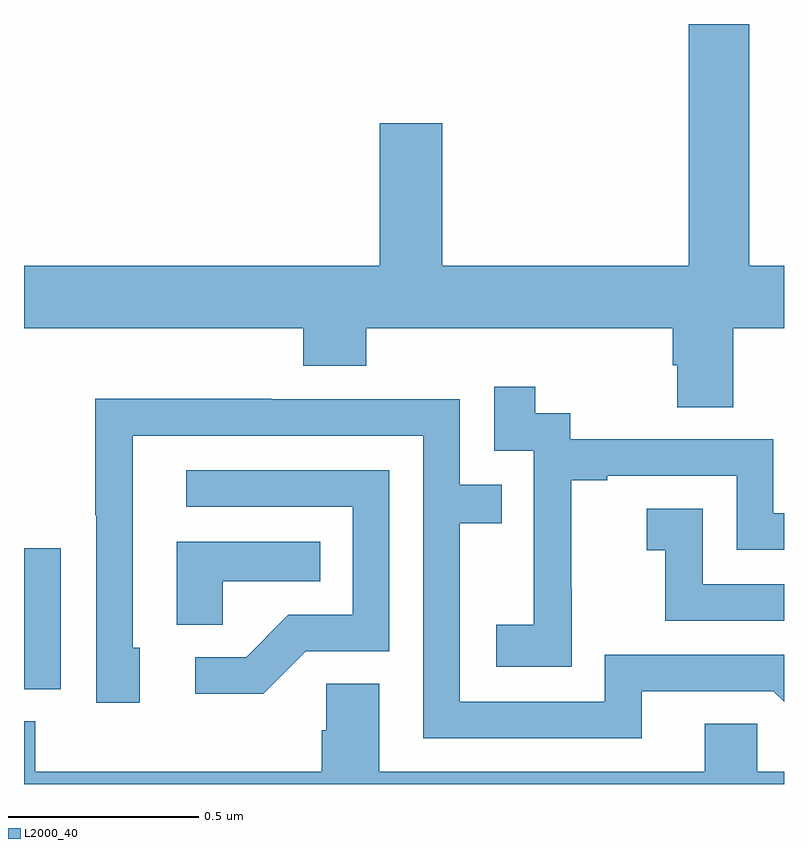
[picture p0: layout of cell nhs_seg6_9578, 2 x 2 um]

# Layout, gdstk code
import gdstk
lib = gdstk.Library(unit=1e-6, precision=1e-09)
def P(c, l, *ps):  # polygons
    for p in ps: c.add(gdstk.Polygon(p, *l))
L2000_40 = (2000, 40)

nhs_seg6_9578 = lib.new_cell('nhs_seg6_9578')
P(nhs_seg6_9578, L2000_40, [(237.867,916.7),(238,916.7),(238,916.864),(237.909,916.864),(237.909,917.5),(237.749,917.5),(237.749,916.864),(237.1,916.864),(237.1,917.239),(236.936,917.239),(236.936,916.864),(236,916.864),(236,916.7),(236.735,916.7),(236.735,916.601),(236.9,916.601),(236.9,916.7),(237.707,916.7),(237.707,916.602),(237.719,916.602),(237.719,916.492),(237.867,916.492)],
  [(237.441,916.015),(237.44,916.015),(237.44,916.299),(237.535,916.299),(237.535,916.311),(237.876,916.311),(237.876,916.116),(238,916.116),(238,916.212),(237.972,916.212),(237.972,916.407),(237.438,916.407),(237.438,916.476),(237.346,916.476),(237.346,916.546),(237.237,916.546),(237.237,916.377),(237.342,916.377),(237.342,916.148),(237.341,916.148),(237.341,915.919),(237.243,915.919),(237.243,915.809),(237.441,915.809)],
  [(237.625,915.744),(237.972,915.744),(238,915.716),(238,915.84),(237.528,915.84),(237.528,915.717),(237.147,915.717),(237.147,916.186),(237.257,916.186),(237.257,916.287),(237.147,916.287),(237.147,916.512),(236.651,916.512),(236.651,916.514),(236.188,916.514),(236.188,916.207),(236.19,916.207),(236.19,915.714),(236.305,915.714),(236.305,915.858),(236.286,915.858),(236.286,916.416),(237.051,916.416),(237.051,915.621),(237.625,915.621)],
  [(236.742,915.849),(236.961,915.849),(236.961,916.326),(236.427,916.326),(236.427,916.23),(236.865,916.23),(236.865,915.945),(236.696,915.945),(236.585,915.834),(236.451,915.834),(236.451,915.737),(236.629,915.737)],
  [(238,916.026),(237.786,916.026),(237.786,916.225),(237.639,916.225),(237.639,916.115),(237.688,916.115),(237.688,915.93),(238,915.93)],
  [(236.523,916.034),(236.78,916.034),(236.78,916.138),(236.402,916.138),(236.402,915.919),(236.523,915.919)],
  [(236.097,916.12),(236.001,916.12),(236.001,915.846),(236,915.846),(236,915.75),(236.097,915.75)],
  [(238,915.532),(237.93,915.532),(237.93,915.659),(237.791,915.659),(237.791,915.532),(236.935,915.532),(236.935,915.764),(236.796,915.764),(236.796,915.641),(236.783,915.641),(236.783,915.532),(236.03,915.532),(236.03,915.665),(236,915.665),(236,915.5),(238,915.5)])

lib.write_gds('nhs_seg6_9578.gds')
